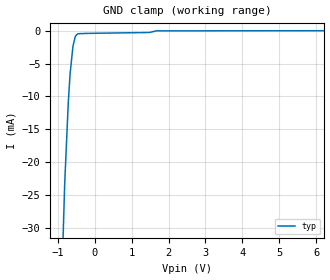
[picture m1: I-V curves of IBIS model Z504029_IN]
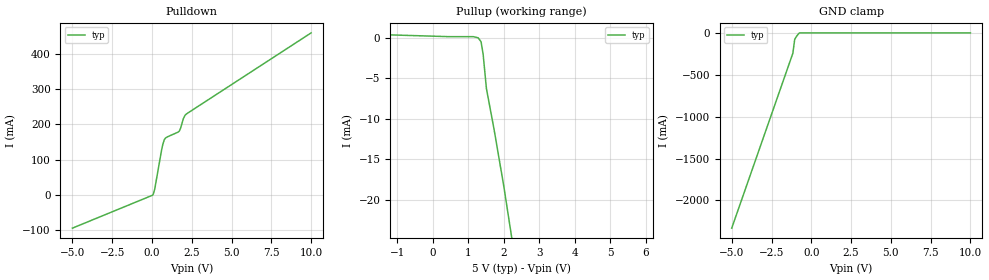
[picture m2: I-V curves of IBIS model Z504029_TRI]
| YOU ARE ONLY AUTHORIZED TO USE THIS SOFTWARE
| ACCORDING TO LICENSOR'S LICENSE RESTRICTIONS.
[IBIS Ver] 3.1
[File Name] mc74f539dw.ibs
[File Rev] 2.0
[Source] Measured and created by ICX Technology
[Date] Friday 7/14/00 9:08:05 AM
[Copyright]
| (C) COPYRIGHT 1993-2000
| MENTOR GRAPHICS CORPORATION
| ICX STANDARD LIBRARY, ICX PROJECT MODELING,
| ICX CUSTOM MODELING, ICX VENDOR MODEL
| ALL RIGHTS RESERVED.
| THE FOLLOWING ARE TRADEMARKS OR SERVICE MARKS OF
| MENTOR GRAPHICS CORPORATION:ICX (R), ICX STANDARD
| LIBRARY(R), ICX PROJECT MODELING(R), ICX CUSTOM
| MODELING(R), qualityIBIS(TM), MODELVIEWER(TM),
| AND MODELEDITOR(TM)
| ALL COPIES OF SOFTWARE, INCLUDING BUT NOT LIMITED TO
| ANY MODIFICATIONS, ENHANCEMENTS OR DERIVATIVE WORKS,
| MUST CONTAIN ALL MENTOR GRAPHICS CORPORATION'S
| NOTICES AND LEGENDS, INCLUDING THOSE EMBEDDED IN
| SOFTWARE AND THOSE AFFIXED TO SOFTWARE MEDIUM
| AND CONTAINER, AS RECEIVED FROM MENTOR GRAPHICS
| CORPORATION.
|  ZAP Model Builder 2.7
[Component] MC74F539DW
[Manufacturer] OnSemiconductor
[Package]
| variable   typ   min   max
R_pkg  .216ohms NA NA
L_pkg  5.76nH NA NA
C_pkg  1.29pF NA NA
[Pin] signal_name  model_name  R_pin  L_pin C_pin
1 Y2 Z504029_TRI .232 9.76n 1.87p
2 Y1 Z504029_TRI .224 7.26n 1.58p
3 Y0 Z504029_TRI .216 5.26n 1.29p
4 AL Z504029_IN .208 3.76n 1.0p
5 _EN Z504029_IN .2 2.76n .71p
6 A Z504029_IN .2 2.76n .71p
7 B Z504029_IN .208 3.76n 1.0p
8 Y3 Z504029_TRI .216 5.26n 1.29p
9 Y2 Z504029_TRI .224 7.26n 1.58p
10 GROUND GND .232 9.76n 1.87p
11 Y1 Z504029_TRI .232 9.76n 1.87p
12 Y0 Z504029_TRI .224 7.26n 1.58p
13 AL Z504029_IN .216 5.26n 1.29p
14 _EN Z504029_IN .208 3.76n 1.0p
15 _G Z504029_IN .2 2.76n .71p
16 _G Z504029_IN .2 2.76n .71p
17 A Z504029_IN .208 3.76n 1.0p
18 B Z504029_IN .216 5.26n 1.29p
19 Y3 Z504029_TRI .224 7.26n 1.58p
20 VCC POWER .232 9.76n 1.87p
| Models and submodels in the file (2): Z504029_IN (Input), Z504029_TRI (3-state)
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| (C) COPYRIGHT 1993-2000
| MENTOR GRAPHICS CORPORATION
| ICX STANDARD LIBRARY, ICX PROJECT MODELING,
| ICX CUSTOM MODELING, ICX VENDOR MODEL
| ALL RIGHTS RESERVED.
| THE FOLLOWING ARE TRADEMARKS OR SERVICE MARKS OF
| MENTOR GRAPHICS CORPORATION:ICX (R), ICX STANDARD
| LIBRARY(R), ICX PROJECT MODELING(R), ICX CUSTOM
| MODELING(R), qualityIBIS(TM), MODELVIEWER(TM),
| AND MODELEDITOR(TM)
| ALL COPIES OF SOFTWARE, INCLUDING BUT NOT LIMITED TO
| ANY MODIFICATIONS, ENHANCEMENTS OR DERIVATIVE WORKS,
| MUST CONTAIN ALL MENTOR GRAPHICS CORPORATION'S
| NOTICES AND LEGENDS, INCLUDING THOSE EMBEDDED IN
| SOFTWARE AND THOSE AFFIXED TO SOFTWARE MEDIUM
| AND CONTAINER, AS RECEIVED FROM MENTOR GRAPHICS
| CORPORATION.
| Model Application Version 1.89 2/18/99.
[Model] Z504029_IN
Model_type Input
Vinl = 800.0mV
Vinh = 2.000V
C_comp 4.000pF NA NA
| variable typ   min   max
[Voltage Range] 5.000V NA NA
[GND Clamp Reference] 0.000V NA NA
[POWER Clamp Reference] 5.000V NA NA
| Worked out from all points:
|   GND clamp passes 1 mA (typ) near -0.53 V on its own axis
[GND Clamp]
-5V       -814.8mA   NA         NA
-810.5mV  -23.4mA    NA         NA
-714mV    -11.07mA   NA         NA
-663.8mV  -6.544mA   NA         NA
-585.9mV  -2.345mA   NA         NA
-522.5mV  -838uA     NA         NA
-479.7mV  -537.5uA   NA         NA
-444.2mV  -436uA     NA         NA
-222.1mV  -388.3uA   NA         NA
1.488V    -245.5uA   NA         NA
1.665V    -2.272uA   NA         NA
10V       44.01uA    NA         NA
[POWER Clamp]
-5V       0A         NA         NA
10V       0A         NA         NA
| (C) COPYRIGHT 1993-2000
| MENTOR GRAPHICS CORPORATION
| ICX STANDARD LIBRARY, ICX PROJECT MODELING,
| ICX CUSTOM MODELING, ICX VENDOR MODEL
| ALL RIGHTS RESERVED.
| THE FOLLOWING ARE TRADEMARKS OR SERVICE MARKS OF
| MENTOR GRAPHICS CORPORATION:ICX (R), ICX STANDARD
| LIBRARY(R), ICX PROJECT MODELING(R), ICX CUSTOM
| MODELING(R), qualityIBIS(TM), MODELVIEWER(TM),
| AND MODELEDITOR(TM)
| ALL COPIES OF SOFTWARE, INCLUDING BUT NOT LIMITED TO
| ANY MODIFICATIONS, ENHANCEMENTS OR DERIVATIVE WORKS,
| MUST CONTAIN ALL MENTOR GRAPHICS CORPORATION'S
| NOTICES AND LEGENDS, INCLUDING THOSE EMBEDDED IN
| SOFTWARE AND THOSE AFFIXED TO SOFTWARE MEDIUM
| AND CONTAINER, AS RECEIVED FROM MENTOR GRAPHICS
| CORPORATION.
| Model Application Version 1.89 2/18/99.
[Model] Z504029_TRI
Model_type 3-state
Vref=0.000V
Rref=500.0ohms
Cref=50.00pF
Vmeas=1.500V
C_comp 8.000pF NA NA
| variable typ   min   max
[Voltage Range] 5.000V NA NA
[POWER Clamp Reference] 5.000V NA NA
[Pullup Reference] 5.000V NA NA
[Pulldown Reference] 0.000V NA NA
[GND Clamp Reference] 0.000V NA NA
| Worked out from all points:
|   slope of the pulldown table from 0 to 0.75 V, typ, clamps not added: 4.83 ohm
|   slope of the pullup table from 0 to 0.75 V, typ, clamps not added: 12 kohm
|   GND clamp passes 1 mA (typ) near -0.75 V on its own axis
[GND Clamp]
-5V       -2.331A    NA         NA
-1.153V   -240.1mA   NA         NA
-1.142V   -219.7mA   NA         NA
-1.042V   -76.08mA   NA         NA
-922.9mV  -39.23mA   NA         NA
-828.4mV  -17.02mA   NA         NA
-745.6mV  0A         NA         NA
10V       0A         NA         NA
[Pulldown]
-5V       -95.27mA   NA         NA
48.87mV   -725.7uA   NA         NA
174.8mV   15.79mA    NA         NA
591.8mV   123.9mA    NA         NA
673.9mV   141.7mA    NA         NA
775.4mV   156.7mA    NA         NA
966.8mV   164.6mA    NA         NA
1.689V    179.8mA    NA         NA
1.802V    189.6mA    NA         NA
1.968V    215.7mA    NA         NA
2.08V     226.2mA    NA         NA
10V       460.6mA    NA         NA
[Pullup]
-5V       886.9uA    NA         NA
474.5mV   164.1uA    NA         NA
1.144V    164.1uA    NA         NA
1.28V     28.33uA    NA         NA
1.363V    -465.2uA   NA         NA
1.421V    -1.992mA   NA         NA
1.514V    -6.242mA   NA         NA
1.73V     -11.3mA    NA         NA
2.002V    -18.26mA   NA         NA
10V       -245.6mA   NA         NA
[POWER Clamp]
-5V       0A         NA         NA
10V       0A         NA         NA
[Ramp]
| variable typ min max
dV/dt_r 2.040/5.029n NA NA
dV/dt_f 2.040/1.649n NA NA
R_load = 500.0Ohms
